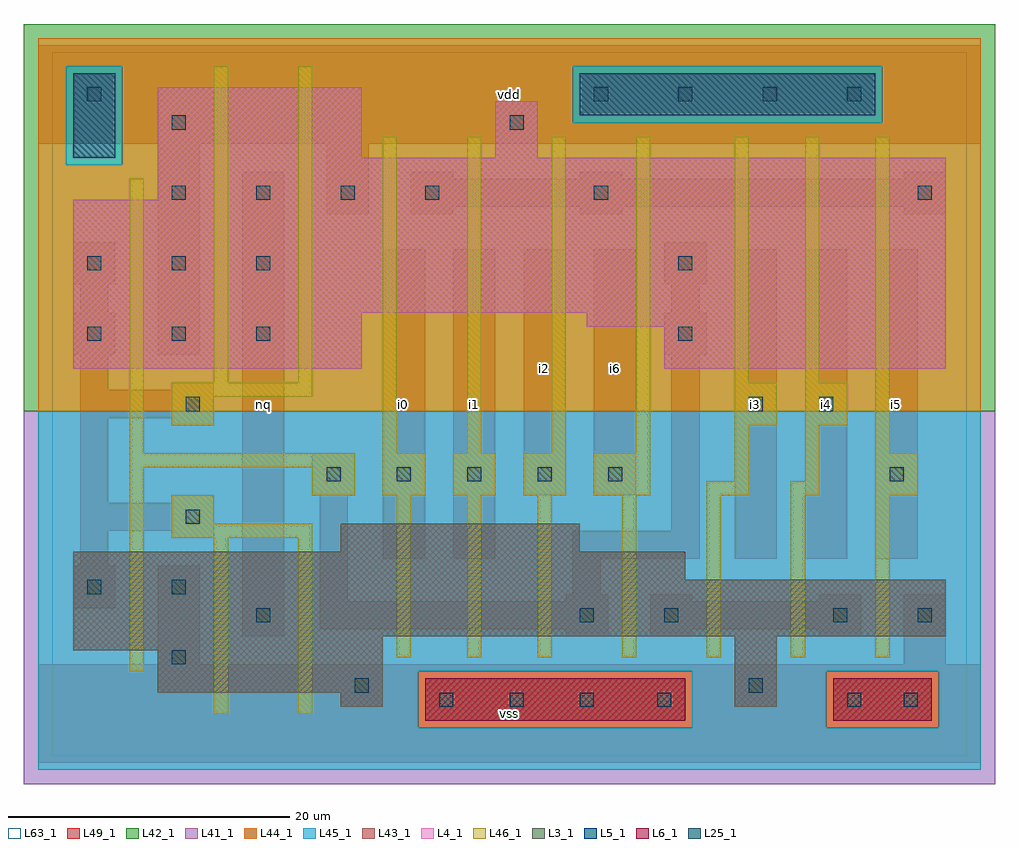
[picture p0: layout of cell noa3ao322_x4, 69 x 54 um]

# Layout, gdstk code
import gdstk
lib = gdstk.Library(unit=1e-6, precision=1e-09)
def R(c, l, rs):  # rectangles x0, y0, x1, y1
    for r in rs: c.add(gdstk.rectangle(r[:2], r[2:], *l))
def A(c, l, x, y, w, h, nx, ny, dx, dy):  # array of equal rectangles
    R(c, l, [(x+i*dx, y+j*dy, x+i*dx+w, y+j*dy+h) for i in range(nx) for j in range(ny)])
L3_1 = (3, 1)
L4_1 = (4, 1)
L5_1 = (5, 1)
L6_1 = (6, 1)
L25_1 = (25, 1)
L41_1 = (41, 1)
L42_1 = (42, 1)
L43_1 = (43, 1)
L44_1 = (44, 1)
L45_1 = (45, 1)
L46_1 = (46, 1)
L49_1 = (49, 1)
L63_1 = (63, 1)

noa3ao322_x4 = lib.new_cell('noa3ao322_x4')
R(noa3ao322_x4, L3_1, [(20.5,3.5,23.5,4.5), (48.5,3.5,51.5,8.5), (7.5,4.5,23.5,7.5), (1.5,7.5,23.5,8.5), (1.5,8.5,63.5,12.5), (1.5,12.5,45,14.5), (20.5,14.5,37.5,16.5)])
R(noa3ao322_x4, L4_1, [(1.5,27.5,22,31.5), (43.5,27.5,63.5,30.5), (38,30.5,63.5,31.5), (1.5,31.5,63.5,39.5), (7.5,39.5,63.5,42.5), (7.5,42.5,22,47.5), (31.5,42.5,34.5,46.5)])
R(noa3ao322_x4, L5_1, [(1.5,42.5,4.5,48.5), (37.5,45.5,58.5,48.5)])
R(noa3ao322_x4, L6_1, [(26.5,2.5,45,5.5), (55.5,2.5,62.5,5.5)])
A(noa3ao322_x4, L25_1, 27.5, 3.5, 1, 1, 3, 1, 5, 0)
A(noa3ao322_x4, L25_1, 19.5, 19.5, 1, 1, 5, 1, 5, 0)
A(noa3ao322_x4, L25_1, 2.5, 29.5, 1, 1, 3, 2, 6, 5)
A(noa3ao322_x4, L25_1, 8.5, 39.5, 1, 1, 4, 1, 6, 0)
A(noa3ao322_x4, L25_1, 38.5, 46.5, 1, 1, 4, 1, 6, 0)
R(noa3ao322_x4, L25_1, [(43,3.5,44,4.5), (56.5,3.5,57.5,4.5), (60.5,3.5,61.5,4.5), (21.5,4.5,22.5,5.5), (49.5,4.5,50.5,5.5), (8.5,6.5,9.5,7.5), (14.5,9.5,15.5,10.5), (37.5,9.5,38.5,10.5), (43.5,9.5,44.5,10.5), (55.5,9.5,56.5,10.5), (61.5,9.5,62.5,10.5), (2.5,11.5,3.5,12.5), (8.5,11.5,9.5,12.5), (9.5,16.5,10.5,17.5), (59.5,19.5,60.5,20.5), (9.5,24.5,10.5,25.5), (49.5,24.5,50.5,25.5), (54.5,24.5,55.5,25.5), (44.5,29.5,45.5,30.5), (44.5,34.5,45.5,35.5), (38.5,39.5,39.5,40.5), (61.5,39.5,62.5,40.5), (8.5,44.5,9.5,45.5), (32.5,44.5,33.5,45.5), (2.5,46.5,3.5,47.5)])
R(noa3ao322_x4, L41_1, [(-2,-2,67,24.5)])
R(noa3ao322_x4, L42_1, [(-2,24.5,67,52)])
R(noa3ao322_x4, L43_1, [(26.5,2.5,45,5.5), (55.5,2.5,62.5,5.5), (20.5,3.5,23.5,4.5), (48.5,3.5,51.5,8.5), (7.5,4.5,23.5,7.5), (1.5,7.5,23.5,8.5), (1.5,8.5,63.5,12.5), (1.5,12.5,45,14.5), (20.5,14.5,37.5,16.5), (1.5,27.5,22,31.5), (43.5,27.5,63.5,30.5), (38,30.5,63.5,31.5), (1.5,31.5,63.5,39.5), (7.5,39.5,63.5,42.5), (1.5,42.5,4.5,48.5), (7.5,42.5,22,47.5), (31.5,42.5,34.5,46.5), (37.5,45.5,58.5,48.5)])
R(noa3ao322_x4, L44_1, [(26,2,45.5,6), (55,2,63,6), (-1,24.5,66,42), (-1,42,1,49), (5,42,66,45), (5,45,37,49), (59,45,66,49), (-1,49,66,51)])
R(noa3ao322_x4, L45_1, [(-1,-1,66,2), (-1,2,26,6), (45.5,2,55,6), (63,2,66,6), (-1,6,66,24.5), (1,42,5,49), (37,45,59,49)])
A(noa3ao322_x4, L46_1, 24.5, 7, 1, 11.5, 3, 1, 5, 0)
A(noa3ao322_x4, L46_1, 40.5, 7, 1, 11.5, 4, 1, 6, 0)
A(noa3ao322_x4, L46_1, 23.5, 18.5, 3, 3, 3, 1, 5, 0)
A(noa3ao322_x4, L46_1, 23.5, 21.5, 1, 22.5, 4, 1, 6, 0)
R(noa3ao322_x4, L46_1, [(11.5,3,12.5,15.5), (17.5,3,18.5,15.5), (5.5,6,6.5,20.5), (8.5,15.5,18.5,16.5), (8.5,16.5,11.5,18.5), (18.5,18.5,21.5,20.5), (38.5,18.5,42.5,21.5), (46.5,18.5,49.5,19.5), (52.5,18.5,54.5,19.5), (58.5,18.5,61.5,21.5), (48.5,19.5,49.5,23.5), (53.5,19.5,54.5,23.5), (5.5,20.5,21.5,21.5), (5.5,21.5,6.5,41), (58.5,21.5,59.5,44), (8.5,23.5,11.5,25.5), (48.5,23.5,51.5,26.5), (53.5,23.5,56.5,26.5), (8.5,25.5,18.5,26.5), (11.5,26.5,12.5,49), (17.5,26.5,18.5,49), (48.5,26.5,49.5,44), (53.5,26.5,54.5,44)])
A(noa3ao322_x4, L49_1, 48.5, 14, 3, 22, 3, 1, 5, 0)
R(noa3ao322_x4, L49_1, [(-1,-0.5,66,6.5), (7.5,6.5,10.5,13.5), (60.5,6.5,63.5,11.5), (13.5,8.5,16.5,41.5), (36.5,8.5,39.5,9), (42.5,8.5,45.5,9), (54.5,8.5,57.5,9), (19,9,39.5,11), (42.5,9,57.5,11), (1.5,10.5,4.5,13.5), (19,11,21,18.5), (36.5,11,39.5,11.5), (42.5,11,45.5,11.5), (54.5,11,57.5,11.5), (37,11.5,39,14), (2,13.5,4,16), (23.5,14,26.5,36), (28.5,14,31.5,36), (37,14,46,16), (8.5,15.5,11.5,16), (2,16,11.5,18), (44,16,46,28.5), (2,18,4,24), (8.5,18,11.5,18.5), (18.5,18.5,21.5,21.5), (33.5,18.5,36.5,36), (38.5,18.5,41.5,36), (8.5,23.5,11.5,24), (2,24,11.5,26), (2,26,4,28.5), (8.5,26,11.5,26.5), (1.5,28.5,4.5,31.5), (7.5,28.5,10.5,43.5), (43.5,28.5,46.5,31.5), (2,31.5,4,33.5), (44,31.5,46,33.5), (1.5,33.5,4.5,36.5), (43.5,33.5,46.5,36.5), (19.5,38.5,22.5,43.5), (25.5,38.5,28.5,39), (37.5,38.5,40.5,39), (60.5,38.5,63.5,39), (25.5,39,63.5,41), (25.5,41,28.5,41.5), (37.5,41,40.5,41.5), (60.5,41,63.5,41.5), (-1,43.5,66,50.5)])
R(noa3ao322_x4, L63_1, [(0,0,65,50)])
noa3ao322_x4.add(gdstk.Label('nq', (15,25), layer=49, texttype=1))
noa3ao322_x4.add(gdstk.Label('nq', (15,25), layer=49, texttype=1))
noa3ao322_x4.add(gdstk.Label('vss', (32.5,3), layer=49, texttype=1))
noa3ao322_x4.add(gdstk.Label('vss', (32.5,3), layer=49, texttype=1))
noa3ao322_x4.add(gdstk.Label('i0', (25,25), layer=49, texttype=1))
noa3ao322_x4.add(gdstk.Label('i0', (25,25), layer=49, texttype=1))
noa3ao322_x4.add(gdstk.Label('i1', (30,25), layer=49, texttype=1))
noa3ao322_x4.add(gdstk.Label('i2', (35,27.5), layer=49, texttype=1))
noa3ao322_x4.add(gdstk.Label('i2', (35,27.5), layer=49, texttype=1))
noa3ao322_x4.add(gdstk.Label('i1', (30,25), layer=49, texttype=1))
noa3ao322_x4.add(gdstk.Label('vdd', (32.5,47), layer=49, texttype=1))
noa3ao322_x4.add(gdstk.Label('vdd', (32.5,47), layer=49, texttype=1))
noa3ao322_x4.add(gdstk.Label('i6', (40,27.5), layer=49, texttype=1))
noa3ao322_x4.add(gdstk.Label('i6', (40,27.5), layer=49, texttype=1))
noa3ao322_x4.add(gdstk.Label('i3', (50,25), layer=49, texttype=1))
noa3ao322_x4.add(gdstk.Label('i3', (50,25), layer=49, texttype=1))
noa3ao322_x4.add(gdstk.Label('i5', (60,25), layer=49, texttype=1))
noa3ao322_x4.add(gdstk.Label('i4', (55,25), layer=49, texttype=1))
noa3ao322_x4.add(gdstk.Label('i5', (60,25), layer=49, texttype=1))
noa3ao322_x4.add(gdstk.Label('i4', (55,25), layer=49, texttype=1))

lib.write_gds('noa3ao322_x4.gds')
